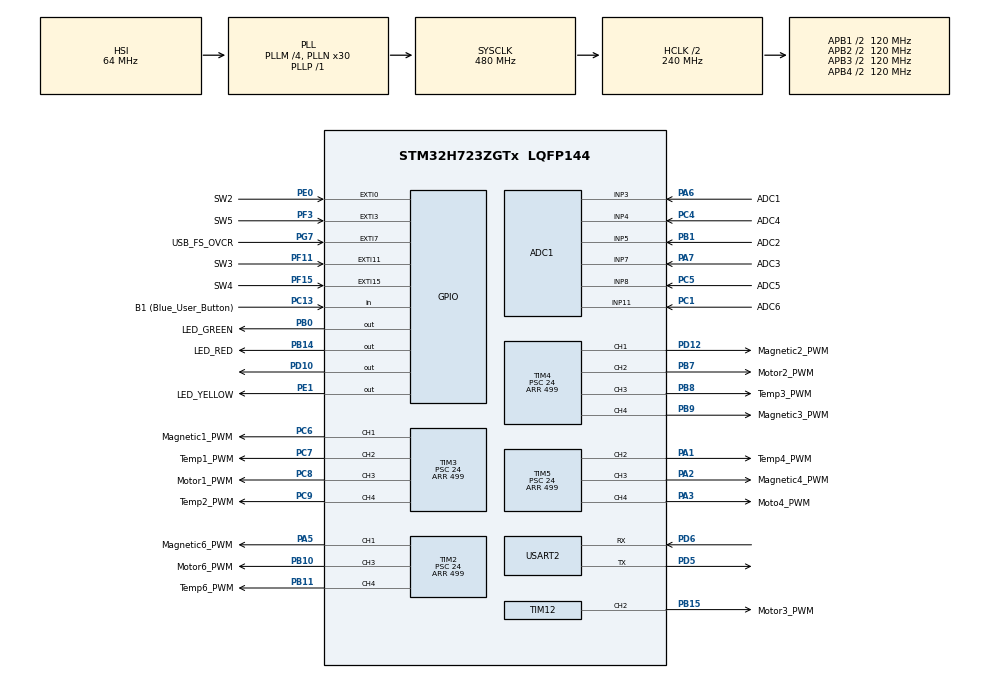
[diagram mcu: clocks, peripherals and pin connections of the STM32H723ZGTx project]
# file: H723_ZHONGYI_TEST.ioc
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ADC1.Channel-0\#ChannelRegularConversion=ADC_CHANNEL_3
ADC1.Channel-1\#ChannelRegularConversion=ADC_CHANNEL_5
ADC1.Channel-2\#ChannelRegularConversion=ADC_CHANNEL_7
ADC1.Channel-3\#ChannelRegularConversion=ADC_CHANNEL_4
ADC1.Channel-4\#ChannelRegularConversion=ADC_CHANNEL_8
ADC1.Channel-5\#ChannelRegularConversion=ADC_CHANNEL_11
ADC1.ClockPrescaler=ADC_CLOCK_ASYNC_DIV4
ADC1.ContinuousConvMode=ENABLE
ADC1.ConversionDataManagement=ADC_CONVERSIONDATA_DMA_CIRCULAR
ADC1.NbrOfConversion=6
ADC1.NbrOfConversionFlag=1
ADC1.OffsetNumber-0\#ChannelRegularConversion=ADC_OFFSET_NONE
ADC1.OffsetNumber-1\#ChannelRegularConversion=ADC_OFFSET_NONE
ADC1.OffsetNumber-2\#ChannelRegularConversion=ADC_OFFSET_NONE
ADC1.OffsetNumber-3\#ChannelRegularConversion=ADC_OFFSET_NONE
ADC1.OffsetNumber-4\#ChannelRegularConversion=ADC_OFFSET_NONE
ADC1.OffsetNumber-5\#ChannelRegularConversion=ADC_OFFSET_NONE
ADC1.OffsetSignedSaturation-0\#ChannelRegularConversion=DISABLE
ADC1.OffsetSignedSaturation-1\#ChannelRegularConversion=DISABLE
ADC1.OffsetSignedSaturation-2\#ChannelRegularConversion=DISABLE
ADC1.OffsetSignedSaturation-3\#ChannelRegularConversion=DISABLE
ADC1.OffsetSignedSaturation-4\#ChannelRegularConversion=DISABLE
ADC1.OffsetSignedSaturation-5\#ChannelRegularConversion=DISABLE
ADC1.Overrun=ADC_OVR_DATA_OVERWRITTEN
ADC1.Rank-0\#ChannelRegularConversion=1
ADC1.Rank-1\#ChannelRegularConversion=2
ADC1.Rank-2\#ChannelRegularConversion=3
ADC1.Rank-3\#ChannelRegularConversion=4
ADC1.Rank-4\#ChannelRegularConversion=5
ADC1.Rank-5\#ChannelRegularConversion=6
ADC1.SamplingTime-0\#ChannelRegularConversion=ADC_SAMPLETIME_64CYCLES_5
ADC1.SamplingTime-1\#ChannelRegularConversion=ADC_SAMPLETIME_64CYCLES_5
ADC1.SamplingTime-2\#ChannelRegularConversion=ADC_SAMPLETIME_64CYCLES_5
ADC1.SamplingTime-3\#ChannelRegularConversion=ADC_SAMPLETIME_64CYCLES_5
ADC1.SamplingTime-4\#ChannelRegularConversion=ADC_SAMPLETIME_64CYCLES_5
ADC1.SamplingTime-5\#ChannelRegularConversion=ADC_SAMPLETIME_64CYCLES_5
ADC1.master=1
Dma.ADC1.0.Direction=DMA_PERIPH_TO_MEMORY
Dma.ADC1.0.EventEnable=DISABLE
Dma.ADC1.0.FIFOMode=DMA_FIFOMODE_DISABLE
Dma.ADC1.0.Instance=DMA1_Stream0
Dma.ADC1.0.MemDataAlignment=DMA_MDATAALIGN_HALFWORD
Dma.ADC1.0.MemInc=DMA_MINC_ENABLE
Dma.ADC1.0.Mode=DMA_CIRCULAR
Dma.ADC1.0.PeriphDataAlignment=DMA_PDATAALIGN_HALFWORD
Dma.ADC1.0.PeriphInc=DMA_PINC_DISABLE
Dma.ADC1.0.Polarity=HAL_DMAMUX_REQ_GEN_RISING
Dma.ADC1.0.Priority=DMA_PRIORITY_LOW
Dma.ADC1.0.RequestNumber=1
Dma.ADC1.0.SignalID=NONE
Dma.ADC1.0.SyncEnable=DISABLE
Dma.ADC1.0.SyncPolarity=HAL_DMAMUX_SYNC_NO_EVENT
Dma.ADC1.0.SyncRequestNumber=1
Dma.ADC1.0.SyncSignalID=NONE
Dma.Request0=ADC1
Mcu.Family=STM32H7
Mcu.Name=STM32H723ZGTx
Mcu.Package=LQFP144
NVIC.DMA1_Stream0_IRQn=true\:0\:0\:false\:false\:true\:true\:false\:true\:true
NVIC.EXTI0_IRQn=true\:1\:0\:true\:false\:true\:false\:true\:true\:true
NVIC.EXTI15_10_IRQn=true\:1\:0\:true\:false\:true\:false\:true\:true\:true
NVIC.EXTI3_IRQn=true\:1\:0\:true\:false\:true\:false\:true\:true\:true
NVIC.PriorityGroup=NVIC_PRIORITYGROUP_4
NVIC.TIM7_IRQn=true\:15\:0\:false\:false\:true\:false\:false\:true\:true
NVIC.TimeBase=TIM7_IRQn
NVIC.TimeBaseIP=TIM7
PA1.GPIO_Label=Temp4_PWM
PA1.Signal=S_TIM5_CH2
PA13(JTMS/SWDIO).GPIO_Label=SWDIO
PA13(JTMS/SWDIO).Mode=Trace_Asynchronous_SW
PA13(JTMS/SWDIO).Signal=DEBUG_JTMS-SWDIO
PA14(JTCK/SWCLK).GPIO_Label=SWCLK
PA14(JTCK/SWCLK).Mode=Trace_Asynchronous_SW
PA14(JTCK/SWCLK).Signal=DEBUG_JTCK-SWCLK
PA2.GPIO_Label=Magnetic4_PWM
PA2.Signal=S_TIM5_CH3
PA3.GPIO_Label=Moto4_PWM
PA3.Signal=S_TIM5_CH4
PA5.GPIO_Label=Magnetic6_PWM
PA5.Signal=S_TIM2_CH1_ETR
PA6.GPIO_Label=ADC1
PA6.Signal=ADCx_INP3
PA7.GPIO_Label=ADC3
PA7.Signal=ADCx_INP7
PB0.GPIO_Label=LED_GREEN
PB0.Signal=GPIO_Output
PB1.GPIO_Label=ADC2
PB1.Signal=ADCx_INP5
PB10.GPIO_Label=Motor6_PWM
PB10.Signal=S_TIM2_CH3
PB11.GPIO_Label=Temp6_PWM
PB11.Signal=S_TIM2_CH4
PB14.GPIO_Label=LED_RED
PB14.Signal=GPIO_Output
PB15.GPIO_Label=Motor3_PWM
PB15.Signal=S_TIM12_CH2
PB3(JTDO/TRACESWO).GPIO_Label=SWO
PB3(JTDO/TRACESWO).Mode=Trace_Asynchronous_SW
PB3(JTDO/TRACESWO).Signal=DEBUG_JTDO-SWO
PB7.GPIO_Label=Motor2_PWM
PB7.Signal=S_TIM4_CH2
PB8.GPIO_Label=Temp3_PWM
PB8.Signal=S_TIM4_CH3
PB9.GPIO_Label=Magnetic3_PWM
PB9.Signal=S_TIM4_CH4
PC1.GPIO_Label=ADC6
PC1.Signal=ADCx_INP11
PC13.GPIO_Label=B1 (Blue_User_Button)
PC13.Signal=GPIO_Input
PC14-OSC32_IN.Mode=LSE-External-Oscillator
PC14-OSC32_IN.Signal=RCC_OSC32_IN
PC15-OSC32_OUT.Mode=LSE-External-Oscillator
PC15-OSC32_OUT.Signal=RCC_OSC32_OUT
PC4.GPIO_Label=ADC4
PC4.Signal=ADCx_INP4
PC5.GPIO_Label=ADC5
PC5.Signal=ADCx_INP8
PC6.GPIO_Label=Magnetic1_PWM
PC6.Signal=S_TIM3_CH1
PC7.GPIO_Label=Temp1_PWM
PC7.Signal=S_TIM3_CH2
PC8.GPIO_Label=Motor1_PWM
PC8.Signal=S_TIM3_CH3
PC9.GPIO_Label=Temp2_PWM
PC9.Signal=S_TIM3_CH4
PD10.Signal=GPIO_Output
PD12.GPIO_Label=Magnetic2_PWM
PD12.Signal=S_TIM4_CH1
PD5.Mode=Asynchronous
PD5.Signal=USART2_TX
PD6.Mode=Asynchronous
PD6.Signal=USART2_RX
PE0.GPIO_Label=SW2
PE0.GPIO_ModeDefaultEXTI=GPIO_MODE_IT_FALLING
PE0.GPIO_PuPd=GPIO_PULLUP
PE0.Signal=GPXTI0
PE1.GPIO_Label=LED_YELLOW
PE1.Signal=GPIO_Output
PF11.GPIO_Label=SW3
PF11.GPIO_ModeDefaultEXTI=GPIO_MODE_IT_FALLING
PF11.GPIO_PuPd=GPIO_PULLUP
PF11.Signal=GPXTI11
PF15.GPIO_Label=SW4
PF15.GPIO_ModeDefaultEXTI=GPIO_MODE_IT_FALLING
PF15.GPIO_PuPd=GPIO_PULLUP
PF15.Signal=GPXTI15
PF3.GPIO_Label=SW5
PF3.GPIO_ModeDefaultEXTI=GPIO_MODE_IT_FALLING
PF3.GPIO_PuPd=GPIO_PULLUP
PF3.Signal=GPXTI3
PG7.GPIO_Label=USB_FS_OVCR
PG7.Signal=GPXTI7
PH0-OSC_IN.GPIO_Label=MCO
PH0-OSC_IN.Mode=HSE-External-Clock-Source
PH0-OSC_IN.Signal=RCC_OSC_IN
PH1-OSC_OUT.Signal=RCC_OSC_OUT
ProjectManager.HeapSize=0x200
ProjectManager.StackSize=0x400
ProjectManager.TargetToolchain=MDK-ARM V5.32
RCC.ADCFreq_Value=128000000
RCC.APB1Freq_Value=120000000
RCC.APB2Freq_Value=120000000
RCC.APB3Freq_Value=120000000
RCC.APB4Freq_Value=120000000
RCC.CortexFreq_Value=480000000
RCC.D1PPRE=RCC_APB3_DIV2
RCC.D2PPRE1=RCC_APB1_DIV2
RCC.D2PPRE2=RCC_APB2_DIV2
RCC.D3PPRE=RCC_APB4_DIV2
RCC.DIVM1=4
RCC.DIVN1=30
RCC.DIVN2=128
RCC.DIVP1=1
RCC.DIVQ1=4
RCC.HCLKFreq_Value=240000000
RCC.HPRE=RCC_HCLK_DIV2
RCC.HSE_VALUE=8000000
RCC.PLLFRACN=0
RCC.SYSCLKFreq_VALUE=480000000
RCC.SYSCLKSource=RCC_SYSCLKSOURCE_PLLCLK
RCC.USBCLockSelection=RCC_USBCLKSOURCE_HSI48
RCC.USBFreq_Value=48000000
RealThread.RT-Thread.3.1.5.RTOSJjkernel=true
RealThread.RT-Thread.3.1.5.RT_USING_HEAP=1
SH.ADCx_INP11.0=ADC1_INP11,IN11-Single-Ended
SH.ADCx_INP3.0=ADC1_INP3,IN3-Single-Ended
SH.ADCx_INP4.0=ADC1_INP4,IN4-Single-Ended
SH.ADCx_INP5.0=ADC1_INP5,IN5-Single-Ended
SH.ADCx_INP7.0=ADC1_INP7,IN7-Single-Ended
SH.ADCx_INP8.0=ADC1_INP8,IN8-Single-Ended
SH.S_TIM12_CH2.0=TIM12_CH2,PWM Generation2 CH2
SH.S_TIM2_CH1_ETR.0=TIM2_CH1,PWM Generation1 CH1
SH.S_TIM2_CH3.0=TIM2_CH3,PWM Generation3 CH3
SH.S_TIM2_CH4.0=TIM2_CH4,Output Compare4 CH4
SH.S_TIM3_CH1.0=TIM3_CH1,PWM Generation1 CH1
SH.S_TIM3_CH2.0=TIM3_CH2,PWM Generation2 CH2
SH.S_TIM3_CH3.0=TIM3_CH3,PWM Generation3 CH3
SH.S_TIM3_CH4.0=TIM3_CH4,PWM Generation4 CH4
SH.S_TIM4_CH1.0=TIM4_CH1,PWM Generation1 CH1
SH.S_TIM4_CH2.0=TIM4_CH2,PWM Generation2 CH2
SH.S_TIM4_CH3.0=TIM4_CH3,PWM Generation3 CH3
SH.S_TIM4_CH4.0=TIM4_CH4,PWM Generation4 CH4
SH.S_TIM5_CH2.0=TIM5_CH2,PWM Generation2 CH2
SH.S_TIM5_CH3.0=TIM5_CH3,PWM Generation3 CH3
SH.S_TIM5_CH4.0=TIM5_CH4,PWM Generation4 CH4
TIM12.AutoReloadPreload=TIM_AUTORELOAD_PRELOAD_ENABLE
TIM12.Channel-PWM\ Generation2\ CH2=TIM_CHANNEL_2
TIM12.Period=500
TIM12.Prescaler=24
TIM2.AutoReloadPreload=TIM_AUTORELOAD_PRELOAD_ENABLE
TIM2.Channel-Output\ Compare4\ CH4=TIM_CHANNEL_4
TIM2.Channel-PWM\ Generation1\ CH1=TIM_CHANNEL_1
TIM2.Channel-PWM\ Generation3\ CH3=TIM_CHANNEL_3
TIM2.Period=499
TIM2.Prescaler=24
TIM3.AutoReloadPreload=TIM_AUTORELOAD_PRELOAD_ENABLE
TIM3.Channel-PWM\ Generation1\ CH1=TIM_CHANNEL_1
TIM3.Channel-PWM\ Generation2\ CH2=TIM_CHANNEL_2
TIM3.Channel-PWM\ Generation3\ CH3=TIM_CHANNEL_3
TIM3.Channel-PWM\ Generation4\ CH4=TIM_CHANNEL_4
TIM3.Period=499
TIM3.Prescaler=24
TIM4.AutoReloadPreload=TIM_AUTORELOAD_PRELOAD_ENABLE
TIM4.Channel-PWM\ Generation1\ CH1=TIM_CHANNEL_1
TIM4.Channel-PWM\ Generation2\ CH2=TIM_CHANNEL_2
TIM4.Channel-PWM\ Generation3\ CH3=TIM_CHANNEL_3
TIM4.Channel-PWM\ Generation4\ CH4=TIM_CHANNEL_4
TIM4.Period=499
TIM4.Prescaler=24
TIM5.AutoReloadPreload=TIM_AUTORELOAD_PRELOAD_ENABLE
TIM5.Channel-PWM\ Generation2\ CH2=TIM_CHANNEL_2
TIM5.Channel-PWM\ Generation3\ CH3=TIM_CHANNEL_3
TIM5.Channel-PWM\ Generation4\ CH4=TIM_CHANNEL_4
TIM5.Period=499
TIM5.Prescaler=24
TIM8.Channel-PWM\ Generation2\ CH2=TIM_CHANNEL_2
USART2.VirtualMode-Asynchronous=VM_ASYNC
VP_RealThread.RT-Thread_VS_RTOSJjkernel_3.1.5_3.1.5.Mode=RTOSJjkernel
VP_SYS_VS_tim7.Mode=TIM7
VP_TIM12_VS_ClockSourceINT.Mode=Internal
VP_TIM2_VS_ClockSourceINT.Mode=Internal
VP_TIM3_VS_ClockSourceINT.Mode=Internal
VP_TIM4_VS_ClockSourceINT.Mode=Internal
VP_TIM5_VS_ClockSourceINT.Mode=Internal
VP_TIM8_VS_ClockSourceINT.Mode=Internal
board=NUCLEO-H723ZG

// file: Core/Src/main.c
/* USER CODE BEGIN Header */
/**
  ******************************************************************************
  * @file           : main.c
  * @brief          : Main program body
  ******************************************************************************
  * @attention
  *
  * Copyright (c) 2022 STMicroelectronics.
  * All rights reserved.
  *
  * This software is licensed under terms that can be found in the LICENSE file
  * in the root directory of this software component.
  * If no LICENSE file comes with this software, it is provided AS-IS.
  *
  ******************************************************************************
  */
/* USER CODE END Header */
#include "main.h"
#include "adc.h"
#include "dma.h"
#include "tim.h"
#include "usart.h"
#include "gpio.h"

/* USER CODE BEGIN Includes */
#include "start_stop.h"
/* USER CODE END Includes */

/* USER CODE BEGIN PV */
static rt_thread_t magnetism_thread = RT_NULL;
static rt_thread_t Temp_thread = RT_NULL;
static rt_thread_t motor_thread = RT_NULL;
uint8_t magnetism_flag = 0;
uint8_t Temp_flag = 0;
uint8_t motor_flag = 0;

/* USER CODE END PV */

void SystemClock_Config(void);
/* USER CODE BEGIN PFP */
static void magnetism_thread_entry(void* parameter);
static void Temp_thread_entry(void* parameter);
static void motor_thread_entry(void* parameter);
/* USER CODE END PFP */

/* USER CODE BEGIN 0 */
extern __IO uint16_t ADC_ConvertedValue[6];
float ADC_vol[6];
rt_base_t level;
char buf[4];
/* USER CODE END 0 */

int main(void)
{

  /* MCU Configuration--------------------------------------------------------*/

  /* Reset of all peripherals, Initializes the Flash interface and the Systick. */
  HAL_Init();

  /* Configure the system clock */
  SystemClock_Config();

  /* Initialize all configured peripherals */
  MX_GPIO_Init();
  MX_DMA_Init();
  MX_USART2_UART_Init();
  MX_ADC1_Init();
  MX_TIM3_Init();
  MX_TIM2_Init();
  MX_TIM4_Init();
  MX_TIM5_Init();
  MX_TIM8_Init();
  MX_TIM12_Init();
  /* USER CODE BEGIN 2 */
	Delay_Tim_Init();
	HAL_TIM_PWM_Start(&htim3,TIM_CHANNEL_1);
	HAL_TIM_PWM_Start(&htim3,TIM_CHANNEL_2);
	HAL_TIM_PWM_Start(&htim3,TIM_CHANNEL_3);
  /* 创建磁贴任务 */
	magnetism_thread =                          /* 线程控制块指针 */
    rt_thread_create( "magnetism",              /* 线程名字 */
                      magnetism_thread_entry,   /* 线程入口函数 */
                      RT_NULL,             /* 线程入口函数参数 */
                      600,                 /* 线程栈大小 */
                      1,                   /* 线程的优先级 */
                      20);                 /* 线程时间片 */

    /* 启动线程，开启调度 */
   if (magnetism_thread != RT_NULL)
        rt_thread_startup(magnetism_thread);
    else
        return -1;

	 /* 创建温贴任务 */
	Temp_thread =                          /* 线程控制块指针 */
    rt_thread_create( "Temp",              /* 线程名字 */
                      Temp_thread_entry,   /* 线程入口函数 */
                      RT_NULL,             /* 线程入口函数参数 */
                      600,                 /* 线程栈大小 */   //512
                      2,                   /* 线程的优先级 */
                      20);                 /* 线程时间片 */

    /* 启动线程，开启调度 */
   if (Temp_thread != RT_NULL)
        rt_thread_startup(Temp_thread);
    else
        return -1;

	 /* 创建按摩任务 */
	motor_thread =                          /* 线程控制块指针 */
    rt_thread_create( "motor",              /* 线程名字 */
                      motor_thread_entry,   /* 线程入口函数 */
                      RT_NULL,             /* 线程入口函数参数 */
                      512,                 /* 线程栈大小 */   //512
                      2,                   /* 线程的优先级 */
                      20);                 /* 线程时间片 */

    /* 启动线程，开启调度 */
   if (motor_thread != RT_NULL)
        rt_thread_startup(motor_thread);
    else
        return -1;

	while(DS18B20_Init())
	{
		rt_kprintf("DS18b20 ERROR\r\n");
		rt_thread_mdelay(1000);
	}
  /* USER CODE END 2 */

  /* Infinite loop */
  while (1)
  {

    /* USER CODE BEGIN 3 */
//		HAL_GPIO_TogglePin(GPIOB,LED_RED_Pin);
		rt_thread_mdelay(10);
//		rt_kprintf("led1_thread TEST\r\n");

  }
  /* USER CODE END 3 */
}

void SystemClock_Config(void)
{
  RCC_OscInitTypeDef RCC_OscInitStruct = {0};
  RCC_ClkInitTypeDef RCC_ClkInitStruct = {0};

  /** Supply configuration update enable
  */
  HAL_PWREx_ConfigSupply(PWR_LDO_SUPPLY);

  /** Configure the main internal regulator output voltage
  */
  __HAL_PWR_VOLTAGESCALING_CONFIG(PWR_REGULATOR_VOLTAGE_SCALE0);

  while(!__HAL_PWR_GET_FLAG(PWR_FLAG_VOSRDY)) {}

  /** Macro to configure the PLL clock source
  */
  __HAL_RCC_PLL_PLLSOURCE_CONFIG(RCC_PLLSOURCE_HSI);

  /** Initializes the RCC Oscillators according to the specified parameters
  * in the RCC_OscInitTypeDef structure.
  */
  RCC_OscInitStruct.OscillatorType = RCC_OSCILLATORTYPE_HSI;
  RCC_OscInitStruct.HSIState = RCC_HSI_DIV1;
  RCC_OscInitStruct.HSICalibrationValue = RCC_HSICALIBRATION_DEFAULT;
  RCC_OscInitStruct.PLL.PLLState = RCC_PLL_ON;
  RCC_OscInitStruct.PLL.PLLSource = RCC_PLLSOURCE_HSI;
  RCC_OscInitStruct.PLL.PLLM = 4;
  RCC_OscInitStruct.PLL.PLLN = 30;
  RCC_OscInitStruct.PLL.PLLP = 1;
  RCC_OscInitStruct.PLL.PLLQ = 4;
  RCC_OscInitStruct.PLL.PLLR = 2;
  RCC_OscInitStruct.PLL.PLLRGE = RCC_PLL1VCIRANGE_3;
  RCC_OscInitStruct.PLL.PLLVCOSEL = RCC_PLL1VCOWIDE;
  RCC_OscInitStruct.PLL.PLLFRACN = 0;
  if (HAL_RCC_OscConfig(&RCC_OscInitStruct) != HAL_OK)
  {
    Error_Handler();
  }

  /** Initializes the CPU, AHB and APB buses clocks
  */
  RCC_ClkInitStruct.ClockType = RCC_CLOCKTYPE_HCLK|RCC_CLOCKTYPE_SYSCLK
                              |RCC_CLOCKTYPE_PCLK1|RCC_CLOCKTYPE_PCLK2
                              |RCC_CLOCKTYPE_D3PCLK1|RCC_CLOCKTYPE_D1PCLK1;
  RCC_ClkInitStruct.SYSCLKSource = RCC_SYSCLKSOURCE_PLLCLK;
  RCC_ClkInitStruct.SYSCLKDivider = RCC_SYSCLK_DIV1;
  RCC_ClkInitStruct.AHBCLKDivider = RCC_HCLK_DIV2;
  RCC_ClkInitStruct.APB3CLKDivider = RCC_APB3_DIV2;
  RCC_ClkInitStruct.APB1CLKDivider = RCC_APB1_DIV2;
  RCC_ClkInitStruct.APB2CLKDivider = RCC_APB2_DIV2;
  RCC_ClkInitStruct.APB4CLKDivider = RCC_APB4_DIV2;

  if (HAL_RCC_ClockConfig(&RCC_ClkInitStruct, FLASH_LATENCY_3) != HAL_OK)
  {
    Error_Handler();
  }
}

/* USER CODE BEGIN 4 */
void magnetism_thread_entry(void* parameter)
{

	while (1)
  {
		rt_thread_mdelay(100);

		if(magnetism_flag == 1){

					rt_kprintf("Magnetism mode\r\n");
					Magnetism_start();
					ADC_vol[0] =(float) ADC_ConvertedValue[0]/65536*(float)3.3;

					rt_kprintf("\r\n PA6 value = %f V \r\n",ADC_vol[0]);

					rt_kprintf("\r\n\r\n");
					HAL_GPIO_TogglePin(GPIOB,LED_RED_Pin);
					rt_thread_mdelay(1000);

		}else{
			  Magnetism_stop();	//修改比较值，修改占空比
		}
  }

}

void Temp_thread_entry(void* parameter)
{
	float temperature;

	while (1)
  {
		level = rt_hw_interrupt_disable();
		Temp_stop();
//		HAL_TIM_PWM_Stop(&htim3, TIM_CHANNEL_2);
		temperature=DS18B20_Get_Temp();
//		HAL_TIM_PWM_Start(&htim3, TIM_CHANNEL_2);
		rt_hw_interrupt_enable(level);

		sprintf(buf,"%.1f",temperature);

		if(Temp_flag != 0){

					rt_kprintf("Temperature = %.4s\r\n",buf);
					Temp_start();

		}else{
			Temp_stop();
		}

		rt_thread_mdelay(100);

  }

}

void motor_thread_entry(void* parameter)
{

	while (1)
  {
		if(motor_flag != 0){

					rt_kprintf("Motor mode\r\n",buf);
					Motor_start();

		}else{
			Motor_stop();
		}

		rt_thread_mdelay(100);

  }

}

/* USER CODE END 4 */

void HAL_TIM_PeriodElapsedCallback(TIM_HandleTypeDef *htim)
{
  if (htim->Instance == TIM7) {
    HAL_IncTick();
  }
}

void Error_Handler(void)
{
  __disable_irq();
  while (1)
  {
  }
}
